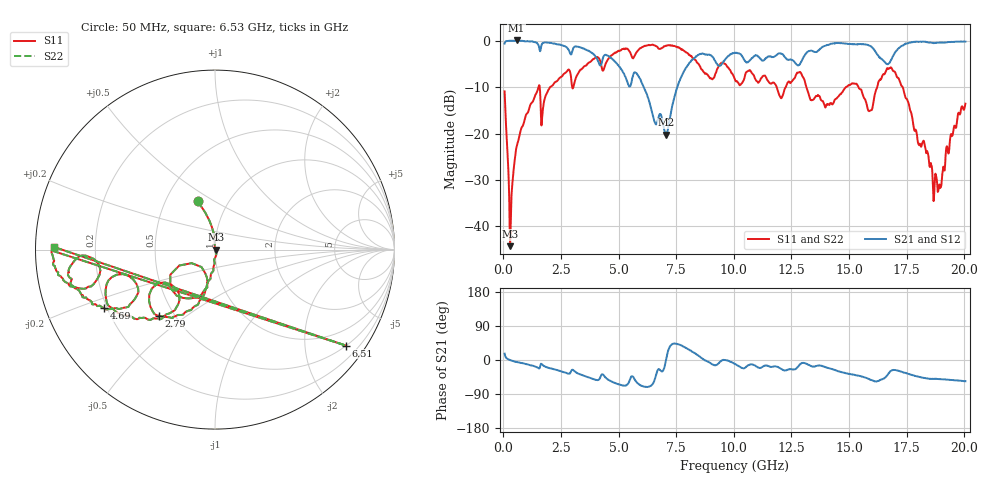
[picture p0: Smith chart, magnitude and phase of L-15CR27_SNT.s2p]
#	mhz	s	ma	r	50
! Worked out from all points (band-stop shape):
!   1001 points, 50 MHz to 20.05 GHz, reference 50 ohm
!   highest |S21| = 0.10 dB at 570 MHz (marker M1); lowest = -20.2 dB at 7.05 GHz (marker M2)
!   |S21| within 3 dB of the highest: 13.1 GHz to 16.22 GHz (3.12 GHz wide, 21.3 % of centre); 16.95 GHz to end of sweep (the widest 2 of 7)
!   lowest |S11| = -44.3 dB at 290 MHz (marker M3), VSWR 1.01, Z = 50.6 - j0.0406 ohm
!   |S11| at or under -10 dB: start of sweep to 1.52 GHz; 13.15 GHz to 14.86 GHz (1.71 GHz wide, 12.2 % of centre); 17.33 GHz to end of sweep (the widest 3 of 7)
!   |S22| runs from -44.3 to -0.8 dB; largest |S21 - S12| = 0
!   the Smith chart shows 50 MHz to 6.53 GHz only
!   S11 on the Smith chart (normalised r, x): 50 MHz: 0.72, +0.42; 2.79 GHz: 0.41, -0.40; 4.69 GHz: 0.19, -0.24; 6.51 GHz: 0.51, -2.97; 6.53 GHz: 0.05, +0.01
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50  0.286 109.6  0.937 16.8  0.937 16.8  0.286 109.6
290  0.00613 -3.8  1.004 -0.3  1.004 -0.3  0.00613 -3.8
570  0.07221 -92.0  1.012 -5.4  1.012 -5.4  0.07221 -92.0
1470  0.2888 -112.3  0.9414 -19.5  0.9414 -19.5  0.2888 -112.3
1710  0.1815 -103.5  0.9504 -13.7  0.9504 -13.7  0.1815 -103.5
2790  0.4826 -130.1  0.8242 -35.7  0.8242 -35.7  0.4826 -130.1
3390  0.4946 -129.1  0.8425 -39.2  0.8425 -39.2  0.4946 -129.1
4690  0.6989 -152.1  0.6498 -56.7  0.6498 -56.7  0.6989 -152.1
6510  0.9036 -36.3  0.1485 -60.1  0.1485 -60.1  0.9036 -36.3
6530  0.8971 179.1  0.1416 -57.7  0.1416 -57.7  0.8971 179.1
6730  0.8265 175.2  0.1487 -24.3  0.1487 -24.3  0.8265 175.2
7050  0.8888 170.4  0.09734 -1.5  0.09734 -1.5  0.8888 170.4
8130  0.6856 126.3  0.5983 24.8  0.5983 24.8  0.6856 126.3
10050  0.3823 115.9  0.7483 -10.7  0.7483 -10.7  0.3823 115.9
12850  0.4586 152.1  0.5538 -12.9  0.5538 -12.9  0.4586 152.1
13390  0.2298 136.9  0.7821 -16.9  0.7821 -16.9  0.2298 136.9
15230  0.346 68.5  0.9263 -39.1  0.9263 -39.1  0.346 68.5
15890  0.176 107.6  0.8898 -51.1  0.8898 -51.1  0.176 107.6
16730  0.5014 122.1  0.575 -34.4  0.575 -34.4  0.5014 122.1
17530  0.2308 65.3  0.9426 -35.7  0.9426 -35.7  0.2308 65.3
18750  0.03707 -88.9  0.9496 -49.7  0.9496 -49.7  0.03707 -88.9
20050  0.2105 -160.5  0.9823 -56.0  0.9823 -56.0  0.2105 -160.5
